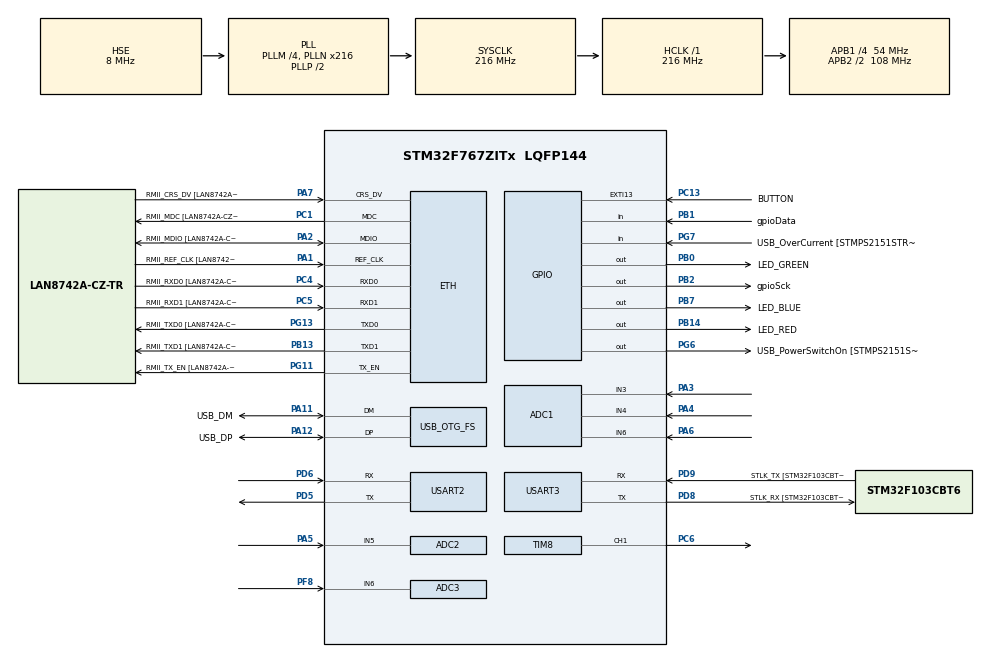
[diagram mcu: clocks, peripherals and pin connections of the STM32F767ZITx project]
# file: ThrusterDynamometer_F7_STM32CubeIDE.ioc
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ADC1.Channel-0\#ChannelRegularConversion=ADC_CHANNEL_3
ADC1.Channel-1\#ChannelRegularConversion=ADC_CHANNEL_4
ADC1.Channel-2\#ChannelRegularConversion=ADC_CHANNEL_6
ADC1.ClockPrescaler=ADC_CLOCK_SYNC_PCLK_DIV8
ADC1.DMAContinuousRequests=ENABLE
ADC1.EOCSelection=ADC_EOC_SEQ_CONV
ADC1.ExternalTrigConv=ADC_EXTERNALTRIGCONV_T2_TRGO
ADC1.NbrOfConversion=3
ADC1.NbrOfConversionFlag=1
ADC1.Rank-0\#ChannelRegularConversion=1
ADC1.Rank-1\#ChannelRegularConversion=2
ADC1.Rank-2\#ChannelRegularConversion=3
ADC1.SamplingTime-0\#ChannelRegularConversion=ADC_SAMPLETIME_480CYCLES
ADC1.SamplingTime-1\#ChannelRegularConversion=ADC_SAMPLETIME_480CYCLES
ADC1.SamplingTime-2\#ChannelRegularConversion=ADC_SAMPLETIME_480CYCLES
ADC1.ScanConvMode=ADC_SCAN_ENABLE
ADC1.master=1
ADC2.Channel-0\#ChannelRegularConversion=ADC_CHANNEL_5
ADC2.ClockPrescaler=ADC_CLOCK_SYNC_PCLK_DIV8
ADC2.NbrOfConversionFlag=1
ADC2.Rank-0\#ChannelRegularConversion=1
ADC2.SamplingTime-0\#ChannelRegularConversion=ADC_SAMPLETIME_3CYCLES
ADC3.Channel-0\#ChannelRegularConversion=ADC_CHANNEL_6
ADC3.ClockPrescaler=ADC_CLOCK_SYNC_PCLK_DIV8
ADC3.NbrOfConversionFlag=1
ADC3.Rank-0\#ChannelRegularConversion=1
ADC3.SamplingTime-0\#ChannelRegularConversion=ADC_SAMPLETIME_3CYCLES
Dma.ADC1.2.Direction=DMA_PERIPH_TO_MEMORY
Dma.ADC1.2.FIFOMode=DMA_FIFOMODE_DISABLE
Dma.ADC1.2.Instance=DMA2_Stream0
Dma.ADC1.2.MemDataAlignment=DMA_MDATAALIGN_WORD
Dma.ADC1.2.MemInc=DMA_MINC_ENABLE
Dma.ADC1.2.Mode=DMA_CIRCULAR
Dma.ADC1.2.PeriphDataAlignment=DMA_PDATAALIGN_WORD
Dma.ADC1.2.PeriphInc=DMA_PINC_DISABLE
Dma.ADC1.2.Priority=DMA_PRIORITY_LOW
Dma.Request0=USART2_RX
Dma.Request1=TIM8_CH1
Dma.Request2=ADC1
Dma.TIM8_CH1.1.Direction=DMA_PERIPH_TO_MEMORY
Dma.TIM8_CH1.1.FIFOMode=DMA_FIFOMODE_DISABLE
Dma.TIM8_CH1.1.Instance=DMA2_Stream2
Dma.TIM8_CH1.1.MemDataAlignment=DMA_MDATAALIGN_HALFWORD
Dma.TIM8_CH1.1.MemInc=DMA_MINC_ENABLE
Dma.TIM8_CH1.1.Mode=DMA_CIRCULAR
Dma.TIM8_CH1.1.PeriphDataAlignment=DMA_PDATAALIGN_HALFWORD
Dma.TIM8_CH1.1.PeriphInc=DMA_PINC_DISABLE
Dma.TIM8_CH1.1.Priority=DMA_PRIORITY_LOW
Dma.USART2_RX.0.Direction=DMA_PERIPH_TO_MEMORY
Dma.USART2_RX.0.FIFOMode=DMA_FIFOMODE_DISABLE
Dma.USART2_RX.0.Instance=DMA1_Stream5
Dma.USART2_RX.0.MemDataAlignment=DMA_MDATAALIGN_BYTE
Dma.USART2_RX.0.MemInc=DMA_MINC_ENABLE
Dma.USART2_RX.0.Mode=DMA_NORMAL
Dma.USART2_RX.0.PeriphDataAlignment=DMA_PDATAALIGN_BYTE
Dma.USART2_RX.0.PeriphInc=DMA_PINC_DISABLE
Dma.USART2_RX.0.Priority=DMA_PRIORITY_LOW
ETH.MediaInterface=ETH_MEDIA_INTERFACE_RMII
ETH.PHY_Name=LAN8742A_PHY_ADDRESS
ETH.PHY_Value=0
ETH.PhyAddress=0
FREERTOS.Tasks01=defaultTask,0,128,StartDefaultTask,Default,NULL
FREERTOS.configTOTAL_HEAP_SIZE=50000
LWIP.IP_ADDRESS=169.254.057.055
LWIP.LWIP_DHCP=0
LWIP.NETMASK_ADDRESS=255.255.255.000
LWIP.Version=v2.0.3_Cube
Mcu.Family=STM32F7
Mcu.Name=STM32F767ZITx
Mcu.Package=LQFP144
NVIC.ADC_IRQn=true\:5\:0\:false\:false\:true\:true\:true\:true
NVIC.DMA1_Stream5_IRQn=true\:5\:0\:false\:false\:true\:true\:false\:true
NVIC.DMA2_Stream0_IRQn=true\:5\:0\:false\:false\:true\:true\:false\:true
NVIC.DMA2_Stream2_IRQn=true\:5\:0\:false\:false\:true\:true\:false\:true
NVIC.ETH_IRQn=true\:5\:0\:false\:false\:true\:true\:false\:true
NVIC.OTG_FS_IRQn=true\:5\:0\:false\:false\:true\:true\:true\:true
NVIC.PriorityGroup=NVIC_PRIORITYGROUP_4
NVIC.TIM1_BRK_TIM9_IRQn=true\:6\:0\:true\:false\:true\:true\:true\:true
NVIC.TIM1_TRG_COM_TIM11_IRQn=true\:7\:0\:true\:false\:true\:true\:true\:true
NVIC.TIM1_UP_TIM10_IRQn=true\:0\:0\:false\:false\:true\:false\:false\:true
NVIC.TIM2_IRQn=true\:5\:0\:false\:false\:true\:true\:true\:true
NVIC.TIM6_DAC_IRQn=true\:5\:0\:false\:false\:true\:true\:true\:true
NVIC.TimeBase=TIM1_UP_TIM10_IRQn
NVIC.TimeBaseIP=TIM1
NVIC.USART2_IRQn=true\:5\:0\:false\:false\:true\:true\:true\:true
NVIC.USART3_IRQn=true\:5\:0\:false\:false\:true\:true\:true\:true
PA1.GPIO_Label=RMII_REF_CLK [LAN8742A-CZ-TR_REFCLK0]
PA1.Mode=RMII
PA1.Signal=ETH_REF_CLK
PA10.GPIO_Label=USB_ID
PA10.Signal=USB_OTG_FS_ID
PA11.GPIO_Label=USB_DM
PA11.Mode=Device_Only
PA11.Signal=USB_OTG_FS_DM
PA12.GPIO_Label=USB_DP
PA12.Mode=Device_Only
PA12.Signal=USB_OTG_FS_DP
PA13.GPIO_Label=TMS
PA13.Mode=Serial_Wire
PA13.Signal=SYS_JTMS-SWDIO
PA14.GPIO_Label=TCK
PA14.Mode=Serial_Wire
PA14.Signal=SYS_JTCK-SWCLK
PA2.GPIO_Label=RMII_MDIO [LAN8742A-CZ-TR_MDIO]
PA2.Mode=RMII
PA2.Signal=ETH_MDIO
PA3.Signal=ADCx_IN3
PA4.Signal=ADCx_IN4
PA5.Signal=ADCx_IN5
PA6.Signal=ADCx_IN6
PA7.GPIO_Label=RMII_CRS_DV [LAN8742A-CZ-TR_CRS_DV]
PA7.Mode=RMII
PA7.Signal=ETH_CRS_DV
PA8.GPIO_Label=USB_SOF [TP1]
PA8.Signal=USB_OTG_FS_SOF
PA9.GPIO_Label=USB_VBUS
PA9.Signal=USB_OTG_FS_VBUS
PB0.GPIO_Label=LED_GREEN
PB0.Signal=GPIO_Output
PB1.GPIO_Label=gpioData
PB1.Signal=GPIO_Input
PB13.GPIO_Label=RMII_TXD1 [LAN8742A-CZ-TR_TXD1]
PB13.Mode=RMII
PB13.Signal=ETH_TXD1
PB14.GPIO_Label=LED_RED
PB14.Signal=GPIO_Output
PB2.GPIO_Label=gpioSck
PB2.Signal=GPIO_Output
PB3.GPIO_Label=SWO
PB3.Signal=SYS_JTDO-SWO
PB7.GPIO_Label=LED_BLUE
PB7.Signal=GPIO_Output
PC1.GPIO_Label=RMII_MDC [LAN8742A-CZ-TR_MDC]
PC1.Mode=RMII
PC1.Signal=ETH_MDC
PC13.GPIO_Label=BUTTON
PC13.Signal=GPXTI13
PC14/OSC32_IN.Mode=LSE-External-Oscillator
PC14/OSC32_IN.Signal=RCC_OSC32_IN
PC15/OSC32_OUT.Mode=LSE-External-Oscillator
PC15/OSC32_OUT.Signal=RCC_OSC32_OUT
PC4.GPIO_Label=RMII_RXD0 [LAN8742A-CZ-TR_RXD0]
PC4.Mode=RMII
PC4.Signal=ETH_RXD0
PC5.GPIO_Label=RMII_RXD1 [LAN8742A-CZ-TR_RXD1]
PC5.Mode=RMII
PC5.Signal=ETH_RXD1
PC6.Signal=S_TIM8_CH1
PD5.Mode=Asynchronous
PD5.Signal=USART2_TX
PD6.Mode=Asynchronous
PD6.Signal=USART2_RX
PD8.GPIO_Label=STLK_RX [STM32F103CBT6_PA3]
PD8.Mode=Asynchronous
PD8.Signal=USART3_TX
PD9.GPIO_Label=STLK_TX [STM32F103CBT6_PA2]
PD9.Mode=Asynchronous
PD9.Signal=USART3_RX
PF8.Mode=IN6
PF8.Signal=ADC3_IN6
PG11.GPIO_Label=RMII_TX_EN [LAN8742A-CZ-TR_TXEN]
PG11.Mode=RMII
PG11.Signal=ETH_TX_EN
PG13.GPIO_Label=RMII_TXD0 [LAN8742A-CZ-TR_TXD0]
PG13.Mode=RMII
PG13.Signal=ETH_TXD0
PG6.GPIO_Label=USB_PowerSwitchOn [STMPS2151STR_EN]
PG6.Signal=GPIO_Output
PG7.GPIO_Label=USB_OverCurrent [STMPS2151STR_FAULT]
PG7.Signal=GPIO_Input
PH0/OSC_IN.GPIO_Label=MCO [STM32F103CBT6_PA8]
PH0/OSC_IN.Mode=HSE-External-Clock-Source
PH0/OSC_IN.Signal=RCC_OSC_IN
PH1/OSC_OUT.Mode=HSE-External-Clock-Source
PH1/OSC_OUT.Signal=RCC_OSC_OUT
ProjectManager.HeapSize=0x4000
ProjectManager.StackSize=0x2000
ProjectManager.TargetToolchain=STM32CubeIDE
RCC.48MHZClocksFreq_Value=24000000
RCC.AHBFreq_Value=216000000
RCC.APB1CLKDivider=RCC_HCLK_DIV4
RCC.APB1Freq_Value=54000000
RCC.APB1TimFreq_Value=108000000
RCC.APB2CLKDivider=RCC_HCLK_DIV2
RCC.APB2Freq_Value=108000000
RCC.APB2TimFreq_Value=216000000
RCC.CortexFreq_Value=216000000
RCC.HCLKFreq_Value=216000000
RCC.HSE_VALUE=8000000
RCC.HSI_VALUE=16000000
RCC.PLLM=4
RCC.PLLMUL=RCC_PLL_MUL9
RCC.PLLN=216
RCC.PLLQ=9
RCC.PRESCALERUSB=RCC_USBCLKSOURCE_PLL_DIV1_5
RCC.SYSCLKFreq_VALUE=216000000
RCC.SYSCLKSource=RCC_SYSCLKSOURCE_PLLCLK
RCC.SYSCLKSourceVirtual=RCC_SYSCLKSOURCE_PLLCLK
RCC.USBFreq_Value=48000000
RCC.VCOOutputFreq_Value=432000000
RTC.HourFormat=RTC_HOURFORMAT_12
SH.ADCx_IN3.0=ADC1_IN3,IN3
SH.ADCx_IN4.0=ADC1_IN4,IN4
SH.ADCx_IN5.0=ADC2_IN5,IN5
SH.ADCx_IN6.0=ADC1_IN6,IN6
SH.S_TIM8_CH1.0=TIM8_CH1,PWM Generation1 CH1
TIM10.Period=999
TIM10.Prescaler=215
TIM11.Period=999
TIM11.Prescaler=215
TIM2.Period=99
TIM2.Prescaler=107
TIM2.TIM_MasterOutputTrigger=TIM_TRGO_UPDATE
TIM6.Period=10000
TIM6.Prescaler=10799
TIM8.Channel-PWM\ Generation1\ CH1=TIM_CHANNEL_1
TIM8.Period=99
TIM8.Prescaler=5399
TIM9.Period=9999
TIM9.Prescaler=2159
USART2.VirtualMode-Asynchronous=VM_ASYNC
USART3.VirtualMode-Asynchronous=VM_ASYNC
USB_DEVICE.CLASS_NAME_FS=CDC
USB_DEVICE.VirtualMode-CDC_FS=Cdc
USB_DEVICE.VirtualModeFS=Cdc_FS
USB_OTG_FS.VirtualMode=Device_Only
VP_FREERTOS_VS_CMSIS_V1.Mode=CMSIS_V1
VP_LWIP_VS_Enabled.Mode=Enabled
VP_RTC_VS_RTC_Activate.Mode=RTC_Enabled
VP_SYS_VS_tim1.Mode=TIM1
VP_TIM10_VS_ClockSourceINT.Mode=Enable_Timer
VP_TIM11_VS_ClockSourceINT.Mode=Enable_Timer
VP_TIM2_VS_ClockSourceINT.Mode=Internal
VP_TIM6_VS_ClockSourceINT.Mode=Enable_Timer
VP_TIM8_VS_ClockSourceINT.Mode=Internal
VP_TIM9_VS_ClockSourceINT.Mode=Internal
VP_USB_DEVICE_VS_USB_DEVICE_CDC_FS.Mode=CDC_FS
board=NUCLEO-F767ZI

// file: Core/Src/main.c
/* USER CODE BEGIN Header */
/**
  ******************************************************************************
  * @file           : main.c
  * @brief          : Main program body
  ******************************************************************************
  * This notice applies to any and all portions of this file
  * that are not between comment pairs USER CODE BEGIN and
  * USER CODE END. Other portions of this file, whether
  * inserted by the user or by software development tools
  * are owned by their respective copyright owners.
  *
  * Copyright (c) 2019 STMicroelectronics International N.V.
  * All rights reserved.
  *
  * Redistribution and use in source and binary forms, with or without
  * modification, are permitted, provided that the following conditions are met:
  *
  * 1. Redistribution of source code must retain the above copyright notice,
  *    this list of conditions and the following disclaimer.
  * 2. Redistributions in binary form must reproduce the above copyright notice,
  *    this list of conditions and the following disclaimer in the documentation
  *    and/or other materials provided with the distribution.
  * 3. Neither the name of STMicroelectronics nor the names of other
  *    contributors to this software may be used to endorse or promote products
  *    derived from this software without specific written permission.
  * 4. This software, including modifications and/or derivative works of this
  *    software, must execute solely and exclusively on microcontroller or
  *    microprocessor devices manufactured by or for STMicroelectronics.
  * 5. Redistribution and use of this software other than as permitted under
  *    this license is void and will automatically terminate your rights under
  *    this license.
  *
  * THIS SOFTWARE IS PROVIDED BY STMICROELECTRONICS AND CONTRIBUTORS "AS IS"
  * AND ANY EXPRESS, IMPLIED OR STATUTORY WARRANTIES, INCLUDING, BUT NOT
  * LIMITED TO, THE IMPLIED WARRANTIES OF MERCHANTABILITY, FITNESS FOR A
  * PARTICULAR PURPOSE AND NON-INFRINGEMENT OF THIRD PARTY INTELLECTUAL PROPERTY
  * RIGHTS ARE DISCLAIMED TO THE FULLEST EXTENT PERMITTED BY LAW. IN NO EVENT
  * SHALL STMICROELECTRONICS OR CONTRIBUTORS BE LIABLE FOR ANY DIRECT, INDIRECT,
  * INCIDENTAL, SPECIAL, EXEMPLARY, OR CONSEQUENTIAL DAMAGES (INCLUDING, BUT NOT
  * LIMITED TO, PROCUREMENT OF SUBSTITUTE GOODS OR SERVICES; LOSS OF USE, DATA,
  * OR PROFITS; OR BUSINESS INTERRUPTION) HOWEVER CAUSED AND ON ANY THEORY OF
  * LIABILITY, WHETHER IN CONTRACT, STRICT LIABILITY, OR TORT (INCLUDING
  * NEGLIGENCE OR OTHERWISE) ARISING IN ANY WAY OUT OF THE USE OF THIS SOFTWARE,
  * EVEN IF ADVISED OF THE POSSIBILITY OF SUCH DAMAGE.
  *
  ******************************************************************************
  */
/* USER CODE END Header */

#include "main.h"
#include "cmsis_os.h"
#include "lwip.h"
#include "usb_device.h"

/* USER CODE BEGIN Includes */

#include "controlpanel.h"

/* USER CODE END Includes */

ADC_HandleTypeDef hadc1;
ADC_HandleTypeDef hadc2;
ADC_HandleTypeDef hadc3;
DMA_HandleTypeDef hdma_adc1;

RTC_HandleTypeDef hrtc;

TIM_HandleTypeDef htim2;
TIM_HandleTypeDef htim6;
TIM_HandleTypeDef htim8;
TIM_HandleTypeDef htim9;
TIM_HandleTypeDef htim10;
TIM_HandleTypeDef htim11;
DMA_HandleTypeDef hdma_tim8_ch1;

UART_HandleTypeDef huart2;
UART_HandleTypeDef huart3;
DMA_HandleTypeDef hdma_usart2_rx;

osThreadId defaultTaskHandle;
/* USER CODE BEGIN PV */

osThreadId xTaskTCPinitHandle;
int cnt;

/* USER CODE END PV */

void SystemClock_Config(void);
static void MX_GPIO_Init(void);
static void MX_DMA_Init(void);
static void MX_USART3_UART_Init(void);
static void MX_TIM6_Init(void);
static void MX_RTC_Init(void);
static void MX_USART2_UART_Init(void);
static void MX_TIM9_Init(void);
static void MX_TIM10_Init(void);
static void MX_TIM11_Init(void);
static void MX_ADC1_Init(void);
static void MX_ADC2_Init(void);
static void MX_ADC3_Init(void);
static void MX_TIM2_Init(void);
static void MX_TIM8_Init(void);
void StartDefaultTask(void const * argument);

/* USER CODE BEGIN PFP */

void vTaskTCPinit(void const * argument);

/* USER CODE END PFP */

int main(void)
{
  /* USER CODE BEGIN 1 */

  DWT->CTRL |= (1 << 0);

  /* USER CODE END 1 */

  /* MCU Configuration--------------------------------------------------------*/

  /* Reset of all peripherals, Initializes the Flash interface and the Systick. */
  HAL_Init();

  /* Configure the system clock */
  SystemClock_Config();

  /* Initialize all configured peripherals */
  MX_GPIO_Init();
  MX_DMA_Init();
  MX_USART3_UART_Init();
  MX_TIM6_Init();
  MX_RTC_Init();
  MX_USART2_UART_Init();
  MX_TIM9_Init();
  MX_TIM10_Init();
  MX_TIM11_Init();
  MX_ADC1_Init();
  MX_ADC2_Init();
  MX_ADC3_Init();
  MX_TIM2_Init();
  MX_TIM8_Init();
  /* USER CODE BEGIN 2 */

  HAL_TIM_Base_Start_IT(&htim2);

  memset(uartf4_received, '\0', sizeof(uartf4_received));
  HAL_UART_Receive_DMA(&huart2, (uint8_t*) uartf4_received, UARTF4_TEMP_FRAME_SIZE);

  vSetVarulMaxPRIGROUPValue();

  /* USER CODE END 2 */

  /* USER CODE BEGIN RTOS_SEMAPHORES */
  /* add semaphores, ... */

  xMutexSensValue = xSemaphoreCreateMutex();
  xSemaphoreGive(xMutexSensValue);
  xMutexBLDC = xSemaphoreCreateMutex();
  xSemaphoreGive(xMutexBLDC);

  /* USER CODE END RTOS_SEMAPHORES */

  /* Create the thread(s) */
  /* definition and creation of defaultTask */
  osThreadDef(defaultTask, StartDefaultTask, osPriorityNormal, 0, 128);
  defaultTaskHandle = osThreadCreate(osThread(defaultTask), NULL);

  /* USER CODE BEGIN RTOS_THREADS */
  /* add threads, ... */

  osThreadDef(TaskTCPinit, vTaskTCPinit, osPriorityNormal, 0, 128);
  xTaskTCPinitHandle = osThreadCreate(osThread(TaskTCPinit), NULL);

  /* control panel tasks */
  xTaskCreate(vTaskSendData, "Task-Send", 500, NULL, 3, &xTaskSendDataHandle);

  xTaskCreate(vTaskReceivedData, "Task-Received", 500, NULL, 3, &xTaskReceivedDataHandle);

  xTaskCreate(vTaskBLDC, "Task-BLDC", 500, NULL, 1, &xTaskBLDCHandle);

  xTaskCreate(vTaskADC, "Task-ADC", 500, NULL, 4, &xTaskADCHandle);

  xTaskCreate(vTaskTempF4UART, "Task-Temp", 500, NULL, 5, &xTaskTempF4UARTHandle);

  xTaskCreate(vTaskTenso, "Task-Tenso", 500, NULL, 2, &xTaskTensoHandle);

  /* USER CODE END RTOS_THREADS */

  /* Start scheduler */
  osKernelStart();

  /* We should never get here as control is now taken by the scheduler */

  /* Infinite loop */
  while (1)
  {

  }
}

void SystemClock_Config(void)
{
  RCC_OscInitTypeDef RCC_OscInitStruct = {0};
  RCC_ClkInitTypeDef RCC_ClkInitStruct = {0};
  RCC_PeriphCLKInitTypeDef PeriphClkInitStruct = {0};

  /** Configure LSE Drive Capability
  */
  HAL_PWR_EnableBkUpAccess();
  /** Configure the main internal regulator output voltage
  */
  __HAL_RCC_PWR_CLK_ENABLE();
  __HAL_PWR_VOLTAGESCALING_CONFIG(PWR_REGULATOR_VOLTAGE_SCALE1);
  /** Initializes the CPU, AHB and APB busses clocks
  */
  RCC_OscInitStruct.OscillatorType = RCC_OSCILLATORTYPE_LSI|RCC_OSCILLATORTYPE_HSE;
  RCC_OscInitStruct.HSEState = RCC_HSE_BYPASS;
  RCC_OscInitStruct.LSIState = RCC_LSI_ON;
  RCC_OscInitStruct.PLL.PLLState = RCC_PLL_ON;
  RCC_OscInitStruct.PLL.PLLSource = RCC_PLLSOURCE_HSE;
  RCC_OscInitStruct.PLL.PLLM = 4;
  RCC_OscInitStruct.PLL.PLLN = 216;
  RCC_OscInitStruct.PLL.PLLP = RCC_PLLP_DIV2;
  RCC_OscInitStruct.PLL.PLLQ = 9;
  if (HAL_RCC_OscConfig(&RCC_OscInitStruct) != HAL_OK)
  {
    Error_Handler();
  }
  /** Activate the Over-Drive mode
  */
  if (HAL_PWREx_EnableOverDrive() != HAL_OK)
  {
    Error_Handler();
  }
  /** Initializes the CPU, AHB and APB busses clocks
  */
  RCC_ClkInitStruct.ClockType = RCC_CLOCKTYPE_HCLK|RCC_CLOCKTYPE_SYSCLK
                              |RCC_CLOCKTYPE_PCLK1|RCC_CLOCKTYPE_PCLK2;
  RCC_ClkInitStruct.SYSCLKSource = RCC_SYSCLKSOURCE_PLLCLK;
  RCC_ClkInitStruct.AHBCLKDivider = RCC_SYSCLK_DIV1;
  RCC_ClkInitStruct.APB1CLKDivider = RCC_HCLK_DIV4;
  RCC_ClkInitStruct.APB2CLKDivider = RCC_HCLK_DIV2;

  if (HAL_RCC_ClockConfig(&RCC_ClkInitStruct, FLASH_LATENCY_7) != HAL_OK)
  {
    Error_Handler();
  }
  PeriphClkInitStruct.PeriphClockSelection = RCC_PERIPHCLK_RTC|RCC_PERIPHCLK_USART2
                              |RCC_PERIPHCLK_USART3|RCC_PERIPHCLK_CLK48;
  PeriphClkInitStruct.RTCClockSelection = RCC_RTCCLKSOURCE_LSI;
  PeriphClkInitStruct.Usart2ClockSelection = RCC_USART2CLKSOURCE_PCLK1;
  PeriphClkInitStruct.Usart3ClockSelection = RCC_USART3CLKSOURCE_PCLK1;
  PeriphClkInitStruct.Clk48ClockSelection = RCC_CLK48SOURCE_PLL;
  if (HAL_RCCEx_PeriphCLKConfig(&PeriphClkInitStruct) != HAL_OK)
  {
    Error_Handler();
  }
}

static void MX_ADC1_Init(void)
{

  ADC_ChannelConfTypeDef sConfig = {0};

  /** Configure the global features of the ADC (Clock, Resolution, Data Alignment and number of conversion)
  */
  hadc1.Instance = ADC1;
  hadc1.Init.ClockPrescaler = ADC_CLOCK_SYNC_PCLK_DIV8;
  hadc1.Init.Resolution = ADC_RESOLUTION_12B;
  hadc1.Init.ScanConvMode = ADC_SCAN_ENABLE;
  hadc1.Init.ContinuousConvMode = DISABLE;
  hadc1.Init.DiscontinuousConvMode = DISABLE;
  hadc1.Init.ExternalTrigConvEdge = ADC_EXTERNALTRIGCONVEDGE_RISING;
  hadc1.Init.ExternalTrigConv = ADC_EXTERNALTRIGCONV_T2_TRGO;
  hadc1.Init.DataAlign = ADC_DATAALIGN_RIGHT;
  hadc1.Init.NbrOfConversion = 3;
  hadc1.Init.DMAContinuousRequests = ENABLE;
  hadc1.Init.EOCSelection = ADC_EOC_SEQ_CONV;
  if (HAL_ADC_Init(&hadc1) != HAL_OK)
  {
    Error_Handler();
  }
  /** Configure for the selected ADC regular channel its corresponding rank in the sequencer and its sample time.
  */
  sConfig.Channel = ADC_CHANNEL_3;
  sConfig.Rank = ADC_REGULAR_RANK_1;
  sConfig.SamplingTime = ADC_SAMPLETIME_480CYCLES;
  if (HAL_ADC_ConfigChannel(&hadc1, &sConfig) != HAL_OK)
  {
    Error_Handler();
  }
  /** Configure for the selected ADC regular channel its corresponding rank in the sequencer and its sample time.
  */
  sConfig.Channel = ADC_CHANNEL_4;
  sConfig.Rank = ADC_REGULAR_RANK_2;
  if (HAL_ADC_ConfigChannel(&hadc1, &sConfig) != HAL_OK)
  {
    Error_Handler();
  }
  /** Configure for the selected ADC regular channel its corresponding rank in the sequencer and its sample time.
  */
  sConfig.Channel = ADC_CHANNEL_6;
  sConfig.Rank = ADC_REGULAR_RANK_3;
  if (HAL_ADC_ConfigChannel(&hadc1, &sConfig) != HAL_OK)
  {
    Error_Handler();
  }

}

static void MX_ADC2_Init(void)
{

  ADC_ChannelConfTypeDef sConfig = {0};

  /** Configure the global features of the ADC (Clock, Resolution, Data Alignment and number of conversion)
  */
  hadc2.Instance = ADC2;
  hadc2.Init.ClockPrescaler = ADC_CLOCK_SYNC_PCLK_DIV8;
  hadc2.Init.Resolution = ADC_RESOLUTION_12B;
  hadc2.Init.ScanConvMode = ADC_SCAN_DISABLE;
  hadc2.Init.ContinuousConvMode = DISABLE;
  hadc2.Init.DiscontinuousConvMode = DISABLE;
  hadc2.Init.ExternalTrigConvEdge = ADC_EXTERNALTRIGCONVEDGE_NONE;
  hadc2.Init.ExternalTrigConv = ADC_SOFTWARE_START;
  hadc2.Init.DataAlign = ADC_DATAALIGN_RIGHT;
  hadc2.Init.NbrOfConversion = 1;
  hadc2.Init.DMAContinuousRequests = DISABLE;
  hadc2.Init.EOCSelection = ADC_EOC_SINGLE_CONV;
  if (HAL_ADC_Init(&hadc2) != HAL_OK)
  {
    Error_Handler();
  }
  /** Configure for the selected ADC regular channel its corresponding rank in the sequencer and its sample time.
  */
  sConfig.Channel = ADC_CHANNEL_5;
  sConfig.Rank = ADC_REGULAR_RANK_1;
  sConfig.SamplingTime = ADC_SAMPLETIME_3CYCLES;
  if (HAL_ADC_ConfigChannel(&hadc2, &sConfig) != HAL_OK)
  {
    Error_Handler();
  }

}

static void MX_ADC3_Init(void)
{

  ADC_ChannelConfTypeDef sConfig = {0};

  /** Configure the global features of the ADC (Clock, Resolution, Data Alignment and number of conversion)
  */
  hadc3.Instance = ADC3;
  hadc3.Init.ClockPrescaler = ADC_CLOCK_SYNC_PCLK_DIV8;
  hadc3.Init.Resolution = ADC_RESOLUTION_12B;
  hadc3.Init.ScanConvMode = ADC_SCAN_DISABLE;
  hadc3.Init.ContinuousConvMode = DISABLE;
  hadc3.Init.DiscontinuousConvMode = DISABLE;
  hadc3.Init.ExternalTrigConvEdge = ADC_EXTERNALTRIGCONVEDGE_NONE;
  hadc3.Init.ExternalTrigConv = ADC_SOFTWARE_START;
  hadc3.Init.DataAlign = ADC_DATAALIGN_RIGHT;
  hadc3.Init.NbrOfConversion = 1;
  hadc3.Init.DMAContinuousRequests = DISABLE;
  hadc3.Init.EOCSelection = ADC_EOC_SINGLE_CONV;
  if (HAL_ADC_Init(&hadc3) != HAL_OK)
  {
    Error_Handler();
  }
  /** Configure for the selected ADC regular channel its corresponding rank in the sequencer and its sample time.
  */
  sConfig.Channel = ADC_CHANNEL_6;
  sConfig.Rank = ADC_REGULAR_RANK_1;
  sConfig.SamplingTime = ADC_SAMPLETIME_3CYCLES;
  if (HAL_ADC_ConfigChannel(&hadc3, &sConfig) != HAL_OK)
  {
    Error_Handler();
  }

}

static void MX_RTC_Init(void)
{

  /** Initialize RTC Only
  */
  hrtc.Instance = RTC;
  hrtc.Init.HourFormat = RTC_HOURFORMAT_12;
  hrtc.Init.AsynchPrediv = 127;
  hrtc.Init.SynchPrediv = 255;
  if (HAL_RTC_Init(&hrtc) != HAL_OK)
  {
    Error_Handler();
  }

}

static void MX_TIM2_Init(void)
{

  TIM_ClockConfigTypeDef sClockSourceConfig = {0};
  TIM_MasterConfigTypeDef sMasterConfig = {0};

  htim2.Instance = TIM2;
  htim2.Init.Prescaler = 107;
  htim2.Init.CounterMode = TIM_COUNTERMODE_UP;
  htim2.Init.Period = 99;
  htim2.Init.ClockDivision = TIM_CLOCKDIVISION_DIV1;
  htim2.Init.AutoReloadPreload = TIM_AUTORELOAD_PRELOAD_DISABLE;
  if (HAL_TIM_Base_Init(&htim2) != HAL_OK)
  {
    Error_Handler();
  }
  sClockSourceConfig.ClockSource = TIM_CLOCKSOURCE_INTERNAL;
  if (HAL_TIM_ConfigClockSource(&htim2, &sClockSourceConfig) != HAL_OK)
  {
    Error_Handler();
  }
  sMasterConfig.MasterOutputTrigger = TIM_TRGO_UPDATE;
  sMasterConfig.MasterSlaveMode = TIM_MASTERSLAVEMODE_DISABLE;
  if (HAL_TIMEx_MasterConfigSynchronization(&htim2, &sMasterConfig) != HAL_OK)
  {
    Error_Handler();
  }

}

static void MX_TIM6_Init(void)
{

  TIM_MasterConfigTypeDef sMasterConfig = {0};

  htim6.Instance = TIM6;
  htim6.Init.Prescaler = 10799;
  htim6.Init.CounterMode = TIM_COUNTERMODE_UP;
  htim6.Init.Period = 10000;
  htim6.Init.AutoReloadPreload = TIM_AUTORELOAD_PRELOAD_DISABLE;
  if (HAL_TIM_Base_Init(&htim6) != HAL_OK)
  {
    Error_Handler();
  }
  sMasterConfig.MasterOutputTrigger = TIM_TRGO_RESET;
  sMasterConfig.MasterSlaveMode = TIM_MASTERSLAVEMODE_DISABLE;
  if (HAL_TIMEx_MasterConfigSynchronization(&htim6, &sMasterConfig) != HAL_OK)
  {
    Error_Handler();
  }

}

static void MX_TIM8_Init(void)
{

  TIM_ClockConfigTypeDef sClockSourceConfig = {0};
  TIM_MasterConfigTypeDef sMasterConfig = {0};
  TIM_OC_InitTypeDef sConfigOC = {0};
  TIM_BreakDeadTimeConfigTypeDef sBreakDeadTimeConfig = {0};

  htim8.Instance = TIM8;
  htim8.Init.Prescaler = 5399;
  htim8.Init.CounterMode = TIM_COUNTERMODE_UP;
  htim8.Init.Period = 99;
  htim8.Init.ClockDivision = TIM_CLOCKDIVISION_DIV1;
  htim8.Init.RepetitionCounter = 0;
  htim8.Init.AutoReloadPreload = TIM_AUTORELOAD_PRELOAD_DISABLE;
  if (HAL_TIM_Base_Init(&htim8) != HAL_OK)
  {
    Error_Handler();
  }
  sClockSourceConfig.ClockSource = TIM_CLOCKSOURCE_INTERNAL;
  if (HAL_TIM_ConfigClockSource(&htim8, &sClockSourceConfig) != HAL_OK)
  {
    Error_Handler();
  }
  if (HAL_TIM_PWM_Init(&htim8) != HAL_OK)
  {
    Error_Handler();
  }
  sMasterConfig.MasterOutputTrigger = TIM_TRGO_RESET;
  sMasterConfig.MasterOutputTrigger2 = TIM_TRGO2_RESET;
  sMasterConfig.MasterSlaveMode = TIM_MASTERSLAVEMODE_DISABLE;
  if (HAL_TIMEx_MasterConfigSynchronization(&htim8, &sMasterConfig) != HAL_OK)
  {
    Error_Handler();
  }
  sConfigOC.OCMode = TIM_OCMODE_PWM1;
  sConfigOC.Pulse = 0;
  sConfigOC.OCPolarity = TIM_OCPOLARITY_HIGH;
  sConfigOC.OCNPolarity = TIM_OCNPOLARITY_HIGH;
  sConfigOC.OCFastMode = TIM_OCFAST_DISABLE;
  sConfigOC.OCIdleState = TIM_OCIDLESTATE_RESET;
  sConfigOC.OCNIdleState = TIM_OCNIDLESTATE_RESET;
  if (HAL_TIM_PWM_ConfigChannel(&htim8, &sConfigOC, TIM_CHANNEL_1) != HAL_OK)
  {
    Error_Handler();
  }
  sBreakDeadTimeConfig.OffStateRunMode = TIM_OSSR_DISABLE;
  sBreakDeadTimeConfig.OffStateIDLEMode = TIM_OSSI_DISABLE;
  sBreakDeadTimeConfig.LockLevel = TIM_LOCKLEVEL_OFF;
  sBreakDeadTimeConfig.DeadTime = 0;
  sBreakDeadTimeConfig.BreakState = TIM_BREAK_DISABLE;
  sBreakDeadTimeConfig.BreakPolarity = TIM_BREAKPOLARITY_HIGH;
  sBreakDeadTimeConfig.BreakFilter = 0;
  sBreakDeadTimeConfig.Break2State = TIM_BREAK2_DISABLE;
  sBreakDeadTimeConfig.Break2Polarity = TIM_BREAK2POLARITY_HIGH;
  sBreakDeadTimeConfig.Break2Filter = 0;
  sBreakDeadTimeConfig.AutomaticOutput = TIM_AUTOMATICOUTPUT_DISABLE;
  if (HAL_TIMEx_ConfigBreakDeadTime(&htim8, &sBreakDeadTimeConfig) != HAL_OK)
  {
    Error_Handler();
  }
  HAL_TIM_MspPostInit(&htim8);

}

static void MX_TIM9_Init(void)
{

  TIM_ClockConfigTypeDef sClockSourceConfig = {0};

  htim9.Instance = TIM9;
  htim9.Init.Prescaler = 2159;
  htim9.Init.CounterMode = TIM_COUNTERMODE_UP;
  htim9.Init.Period = 9999;
  htim9.Init.ClockDivision = TIM_CLOCKDIVISION_DIV1;
  htim9.Init.AutoReloadPreload = TIM_AUTORELOAD_PRELOAD_DISABLE;
  if (HAL_TIM_Base_Init(&htim9) != HAL_OK)
  {
    Error_Handler();
  }
  sClockSourceConfig.ClockSource = TIM_CLOCKSOURCE_INTERNAL;
  if (HAL_TIM_ConfigClockSource(&htim9, &sClockSourceConfig) != HAL_OK)
  {
    Error_Handler();
  }

}

static void MX_TIM10_Init(void)
{

  htim10.Instance = TIM10;
  htim10.Init.Prescaler = 215;
  htim10.Init.CounterMode = TIM_COUNTERMODE_UP;
  htim10.Init.Period = 999;
  htim10.Init.ClockDivision = TIM_CLOCKDIVISION_DIV1;
  htim10.Init.AutoReloadPreload = TIM_AUTORELOAD_PRELOAD_DISABLE;
  if (HAL_TIM_Base_Init(&htim10) != HAL_OK)
  {
    Error_Handler();
  }

}

static void MX_TIM11_Init(void)
{

  htim11.Instance = TIM11;
  htim11.Init.Prescaler = 215;
  htim11.Init.CounterMode = TIM_COUNTERMODE_UP;
  htim11.Init.Period = 999;
  htim11.Init.ClockDivision = TIM_CLOCKDIVISION_DIV1;
  htim11.Init.AutoReloadPreload = TIM_AUTORELOAD_PRELOAD_DISABLE;
  if (HAL_TIM_Base_Init(&htim11) != HAL_OK)
  {
    Error_Handler();
  }

}

static void MX_USART2_UART_Init(void)
{

  huart2.Instance = USART2;
  huart2.Init.BaudRate = 115200;
  huart2.Init.WordLength = UART_WORDLENGTH_8B;
  huart2.Init.StopBits = UART_STOPBITS_1;
  huart2.Init.Parity = UART_PARITY_NONE;
  huart2.Init.Mode = UART_MODE_TX_RX;
  huart2.Init.HwFlowCtl = UART_HWCONTROL_NONE;
  huart2.Init.OverSampling = UART_OVERSAMPLING_16;
  huart2.Init.OneBitSampling = UART_ONE_BIT_SAMPLE_DISABLE;
  huart2.AdvancedInit.AdvFeatureInit = UART_ADVFEATURE_NO_INIT;
  if (HAL_UART_Init(&huart2) != HAL_OK)
  {
    Error_Handler();
  }

}

static void MX_USART3_UART_Init(void)
{

  huart3.Instance = USART3;
  huart3.Init.BaudRate = 115200;
  huart3.Init.WordLength = UART_WORDLENGTH_8B;
  huart3.Init.StopBits = UART_STOPBITS_1;
  huart3.Init.Parity = UART_PARITY_NONE;
  huart3.Init.Mode = UART_MODE_TX_RX;
  huart3.Init.HwFlowCtl = UART_HWCONTROL_NONE;
  huart3.Init.OverSampling = UART_OVERSAMPLING_16;
  huart3.Init.OneBitSampling = UART_ONE_BIT_SAMPLE_DISABLE;
  huart3.AdvancedInit.AdvFeatureInit = UART_ADVFEATURE_NO_INIT;
  if (HAL_UART_Init(&huart3) != HAL_OK)
  {
    Error_Handler();
  }

}

static void MX_DMA_Init(void)
{

  /* DMA controller clock enable */
  __HAL_RCC_DMA1_CLK_ENABLE();
  __HAL_RCC_DMA2_CLK_ENABLE();

  /* DMA interrupt init */
  /* DMA1_Stream5_IRQn interrupt configuration */
  HAL_NVIC_SetPriority(DMA1_Stream5_IRQn, 5, 0);
  HAL_NVIC_EnableIRQ(DMA1_Stream5_IRQn);
  /* DMA2_Stream0_IRQn interrupt configuration */
  HAL_NVIC_SetPriority(DMA2_Stream0_IRQn, 5, 0);
  HAL_NVIC_EnableIRQ(DMA2_Stream0_IRQn);
  /* DMA2_Stream2_IRQn interrupt configuration */
  HAL_NVIC_SetPriority(DMA2_Stream2_IRQn, 5, 0);
  HAL_NVIC_EnableIRQ(DMA2_Stream2_IRQn);

}

static void MX_GPIO_Init(void)
{
  GPIO_InitTypeDef GPIO_InitStruct = {0};

  /* GPIO Ports Clock Enable */
  __HAL_RCC_GPIOC_CLK_ENABLE();
  __HAL_RCC_GPIOF_CLK_ENABLE();
  __HAL_RCC_GPIOH_CLK_ENABLE();
  __HAL_RCC_GPIOA_CLK_ENABLE();
  __HAL_RCC_GPIOB_CLK_ENABLE();
  __HAL_RCC_GPIOD_CLK_ENABLE();
  __HAL_RCC_GPIOG_CLK_ENABLE();

  /*Configure GPIO pin Output Level */
  HAL_GPIO_WritePin(GPIOB, LED_GREEN_Pin|gpioSck_Pin|LED_RED_Pin|LED_BLUE_Pin, GPIO_PIN_RESET);

  /*Configure GPIO pin Output Level */
  HAL_GPIO_WritePin(USB_PowerSwitchOn_GPIO_Port, USB_PowerSwitchOn_Pin, GPIO_PIN_RESET);

  /*Configure GPIO pin : BUTTON_Pin */
  GPIO_InitStruct.Pin = BUTTON_Pin;
  GPIO_InitStruct.Mode = GPIO_MODE_IT_RISING;
  GPIO_InitStruct.Pull = GPIO_NOPULL;
  HAL_GPIO_Init(BUTTON_GPIO_Port, &GPIO_InitStruct);

  /*Configure GPIO pins : LED_GREEN_Pin gpioSck_Pin LED_RED_Pin LED_BLUE_Pin */
  GPIO_InitStruct.Pin = LED_GREEN_Pin|gpioSck_Pin|LED_RED_Pin|LED_BLUE_Pin;
  GPIO_InitStruct.Mode = GPIO_MODE_OUTPUT_PP;
  GPIO_InitStruct.Pull = GPIO_NOPULL;
  GPIO_InitStruct.Speed = GPIO_SPEED_FREQ_LOW;
  HAL_GPIO_Init(GPIOB, &GPIO_InitStruct);

  /*Configure GPIO pin : gpioData_Pin */
  GPIO_InitStruct.Pin = gpioData_Pin;
  GPIO_InitStruct.Mode = GPIO_MODE_INPUT;
  GPIO_InitStruct.Pull = GPIO_NOPULL;
  HAL_GPIO_Init(gpioData_GPIO_Port, &GPIO_InitStruct);

  /*Configure GPIO pin : USB_PowerSwitchOn_Pin */
  GPIO_InitStruct.Pin = USB_PowerSwitchOn_Pin;
  GPIO_InitStruct.Mode = GPIO_MODE_OUTPUT_PP;
  GPIO_InitStruct.Pull = GPIO_NOPULL;
  GPIO_InitStruct.Speed = GPIO_SPEED_FREQ_LOW;
  HAL_GPIO_Init(USB_PowerSwitchOn_GPIO_Port, &GPIO_InitStruct);

  /*Configure GPIO pin : USB_OverCurrent_Pin */
  GPIO_InitStruct.Pin = USB_OverCurrent_Pin;
  GPIO_InitStruct.Mode = GPIO_MODE_INPUT;
  GPIO_InitStruct.Pull = GPIO_NOPULL;
  HAL_GPIO_Init(USB_OverCurrent_GPIO_Port, &GPIO_InitStruct);

}

/* USER CODE BEGIN 4 */

void vTaskTCPinit(void const * argument){

	char buffer[50] = { 0 };

	accept_err = ERR_CONN;
	err = ERR_CONN;

	conn = netconn_new(NETCONN_TCP);

	if (conn != NULL) {
		err = netconn_bind(conn, NULL, 80);					//Pod³¹czenie
		if (err == ERR_OK) {
			netconn_listen(conn);				//Przejscie w tryb nas³uchiwania
			accept_err = netconn_accept(conn, &newconn);//Akceptacja po³¹czenia
		}
	}

	vTaskResume(xTaskReceivedDataHandle);

	 SEGGER_SYSVIEW_Conf();
	 SEGGER_SYSVIEW_Start();

	 osThreadId id;
	 id = osThreadGetId ();
	 osThreadTerminate (id);

	for(;;){

		osDelay(100);

	}
}

/* USER CODE END 4 */

void StartDefaultTask(void const * argument)
{
  /* init code for LWIP */
  MX_LWIP_Init();

  /* init code for USB_DEVICE */
  MX_USB_DEVICE_Init();
  /* USER CODE BEGIN 5 */

  osThreadId id;
  id = osThreadGetId ();
  osThreadTerminate (id);

  /* Infinite loop */
  for(;;)
  {

	 osDelay(1000);

  }
  /* USER CODE END 5 */
}

void HAL_TIM_PeriodElapsedCallback(TIM_HandleTypeDef *htim)
{
  /* USER CODE BEGIN Callback 0 */

	BaseType_t checkIfYieldRequired = pdFALSE, xResult;

  /* USER CODE END Callback 0 */
  if (htim->Instance == TIM1) {
    HAL_IncTick();
  }
  /* USER CODE BEGIN Callback 1 */
  if (htim->Instance == TIM6) {

  }else if(htim->Instance == TIM9){ // tenso - 10 Hz

	  	xResult = xTaskNotifyFromISR(xTaskTensoHandle, 0, eNoAction, &checkIfYieldRequired);

	  	configASSERT( xResult == pdPASS );
		portYIELD_FROM_ISR(checkIfYieldRequired);

  }else if(htim->Instance == TIM10){ // adc - jednak nie

  }else if(htim->Instance == TIM11){ // send - 1000 Hz

	  	xResult = xTaskNotifyFromISR(xTaskSendDataHandle, 0, eNoAction, &checkIfYieldRequired);

	  	configASSERT( xResult == pdPASS );
		portYIELD_FROM_ISR(checkIfYieldRequired);

  }else if(htim->Instance == TIM2){

//	  cnt++;
//	  if(cnt == 10){
//
//		  xResult = xTaskNotifyFromISR(xTaskADCHandle, 0, eNoAction, &checkIfYieldRequired);
//
//		  cnt = 0;
//
//	  	  configASSERT( xResult == pdPASS );
//	  	  portYIELD_FROM_ISR(checkIfYieldRequired);
//	  }
  }
  /* USER CODE END Callback 1 */
}

void Error_Handler(void)
{
}

/************************ (C) COPYRIGHT STMicroelectronics *****END OF FILE****/
